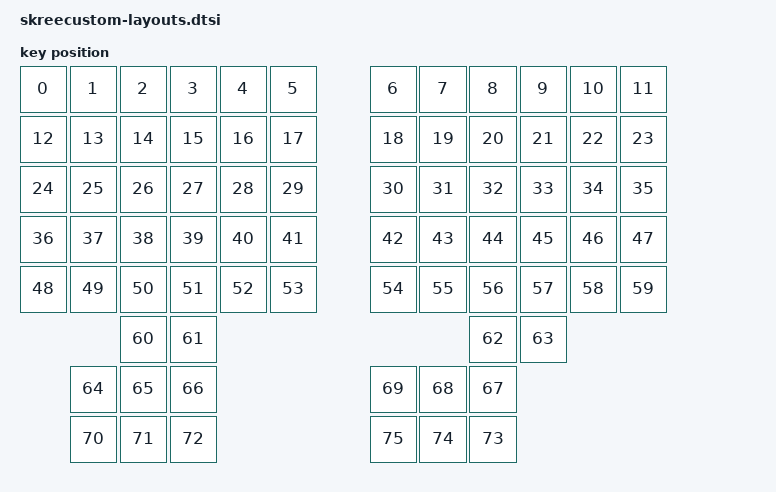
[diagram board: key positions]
#include <physical_layouts.dtsi>

/ {
    skreecustom_physical_layout: skreecustom_physical_layout {
        compatible = "zmk,physical-layout";
        display-name = "Default Layout";
        
        transform = <&default_transform>;
        
        keys  //                 w   h    x    y     rot  rx   ry
            // Row 0 (F-keys row)
            = <&key_physical_attrs 100 100    0    0    0    0    0>  // F1
            , <&key_physical_attrs 100 100  100    0    0    0    0>  // F2
            , <&key_physical_attrs 100 100  200    0    0    0    0>  // F3
            , <&key_physical_attrs 100 100  300    0    0    0    0>  // F4
            , <&key_physical_attrs 100 100  400    0    0    0    0>  // F5
            , <&key_physical_attrs 100 100  500    0    0    0    0>  // F6
            , <&key_physical_attrs 100 100  700    0    0    0    0>  // F7
            , <&key_physical_attrs 100 100  800    0    0    0    0>  // F8
            , <&key_physical_attrs 100 100  900    0    0    0    0>  // F9
            , <&key_physical_attrs 100 100 1000    0    0    0    0>  // F10
            , <&key_physical_attrs 100 100 1100    0    0    0    0>  // F11
            , <&key_physical_attrs 100 100 1200    0    0    0    0>  // F12
            
            // Row 1 (Number row)
            , <&key_physical_attrs 100 100    0  100    0    0    0>  // `
            , <&key_physical_attrs 100 100  100  100    0    0    0>  // 1
            , <&key_physical_attrs 100 100  200  100    0    0    0>  // 2
            , <&key_physical_attrs 100 100  300  100    0    0    0>  // 3
            , <&key_physical_attrs 100 100  400  100    0    0    0>  // 4
            , <&key_physical_attrs 100 100  500  100    0    0    0>  // 5
            , <&key_physical_attrs 100 100  700  100    0    0    0>  // 6
            , <&key_physical_attrs 100 100  800  100    0    0    0>  // 7
            , <&key_physical_attrs 100 100  900  100    0    0    0>  // 8
            , <&key_physical_attrs 100 100 1000  100    0    0    0>  // 9
            , <&key_physical_attrs 100 100 1100  100    0    0    0>  // 0
            , <&key_physical_attrs 100 100 1200  100    0    0    0>  // =
            
            // Row 2 (Top alpha row)
            , <&key_physical_attrs 100 100    0  200    0    0    0>  // Tab
            , <&key_physical_attrs 100 100  100  200    0    0    0>  // Q
            , <&key_physical_attrs 100 100  200  200    0    0    0>  // W
            , <&key_physical_attrs 100 100  300  200    0    0    0>  // E
            , <&key_physical_attrs 100 100  400  200    0    0    0>  // R
            , <&key_physical_attrs 100 100  500  200    0    0    0>  // T
            , <&key_physical_attrs 100 100  700  200    0    0    0>  // Y
            , <&key_physical_attrs 100 100  800  200    0    0    0>  // U
            , <&key_physical_attrs 100 100  900  200    0    0    0>  // I
            , <&key_physical_attrs 100 100 1000  200    0    0    0>  // O
            , <&key_physical_attrs 100 100 1100  200    0    0    0>  // P
            , <&key_physical_attrs 100 100 1200  200    0    0    0>  // -
            
            // Row 3 (Home row)
            , <&key_physical_attrs 100 100    0  300    0    0    0>  // Esc
            , <&key_physical_attrs 100 100  100  300    0    0    0>  // A
            , <&key_physical_attrs 100 100  200  300    0    0    0>  // S
            , <&key_physical_attrs 100 100  300  300    0    0    0>  // D
            , <&key_physical_attrs 100 100  400  300    0    0    0>  // F
            , <&key_physical_attrs 100 100  500  300    0    0    0>  // G
            , <&key_physical_attrs 100 100  700  300    0    0    0>  // H
            , <&key_physical_attrs 100 100  800  300    0    0    0>  // J
            , <&key_physical_attrs 100 100  900  300    0    0    0>  // K
            , <&key_physical_attrs 100 100 1000  300    0    0    0>  // L
            , <&key_physical_attrs 100 100 1100  300    0    0    0>  // ;
            , <&key_physical_attrs 100 100 1200  300    0    0    0>  // '
            
            // Row 4 (Bottom alpha row)
            , <&key_physical_attrs 100 100    0  400    0    0    0>  // LGui
            , <&key_physical_attrs 100 100  100  400    0    0    0>  // Z
            , <&key_physical_attrs 100 100  200  400    0    0    0>  // X
            , <&key_physical_attrs 100 100  300  400    0    0    0>  // C
            , <&key_physical_attrs 100 100  400  400    0    0    0>  // V
            , <&key_physical_attrs 100 100  500  400    0    0    0>  // B
            , <&key_physical_attrs 100 100  700  400    0    0    0>  // N
            , <&key_physical_attrs 100 100  800  400    0    0    0>  // M
            , <&key_physical_attrs 100 100  900  400    0    0    0>  // ,
            , <&key_physical_attrs 100 100 1000  400    0    0    0>  // .
            , <&key_physical_attrs 100 100 1100  400    0    0    0>  // /
            , <&key_physical_attrs 100 100 1200  400    0    0    0>  // \
            
            // Row 5 (Arrow keys)
            , <&key_physical_attrs 100 100  200  500    0    0    0>  // Up (left side)
            , <&key_physical_attrs 100 100  300  500    0    0    0>  // Down (left side)
            , <&key_physical_attrs 100 100  900  500    0    0    0>  // Left (right side)
            , <&key_physical_attrs 100 100 1000  500    0    0    0>  // Right (right side)
            
            // Thumb cluster - Left side (row 6, cols 0-2)
            , <&key_physical_attrs 100 100  100  600    0    0    0>  // [
            , <&key_physical_attrs 100 100  200  600    0    0    0>  // Enter
            , <&key_physical_attrs 100 100  300  600    0    0    0>  // Del
            
            // Thumb cluster - Right side (row 6, cols 8-6 in reverse)
            , <&key_physical_attrs 100 100  900  600    0    0    0>  // Bspc
            , <&key_physical_attrs 100 100  800  600    0    0    0>  // Space
            , <&key_physical_attrs 100 100  700  600    0    0    0>  // ]
            
            // Bottom thumb cluster - Left side (row 6, cols 3-5)
            , <&key_physical_attrs 100 100  100  700    0    0    0>  // PgUp
            , <&key_physical_attrs 100 100  200  700    0    0    0>  // MO(MOUSE)
            , <&key_physical_attrs 100 100  300  700    0    0    0>  // PrtSc
            
            // Bottom thumb cluster - Right side (row 6, cols 11-9 in reverse)
            , <&key_physical_attrs 100 100  900  700    0    0    0>  // Ins
            , <&key_physical_attrs 100 100  800  700    0    0    0>  // TOG(GAMING)
            , <&key_physical_attrs 100 100  700  700    0    0    0>  // PgDn
            ;
    };
};
